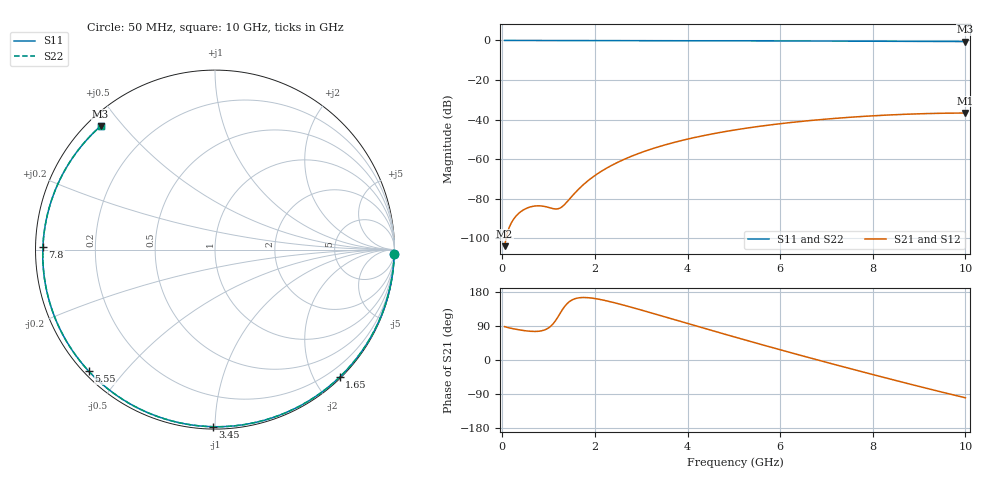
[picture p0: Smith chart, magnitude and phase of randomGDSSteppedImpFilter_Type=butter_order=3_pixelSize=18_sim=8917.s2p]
! freq	dB(S11)	phase(S11)	dB(S12)	phase(S12)
!  dB(S21)	phase(S21)	dB(S22)	phase(S22)
!S-par simulation data
#  GHz  S  DB  R 50
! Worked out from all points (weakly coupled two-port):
!   200 points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, 50 MHz to 10 GHz, reference 50 ohm
!   highest |S21| = -36.68 dB at 10 GHz (marker M1); lowest = -104.0 dB at 50 MHz (marker M2)
!   lowest |S11| = -0.6 dB at 10 GHz (marker M3), VSWR 31.15, Z = 1.91 + j21.8 ohm
!   |S11| at or under -10 dB: nowhere
!   |S22| runs from -0.6 to 0.0 dB; largest |S21 - S12| = 0
!   S11 on the Smith chart (normalised r, x): 50 MHz: 2, -84; 1.65 GHz: 0.02, -2.37; 3.45 GHz: 0.01, -0.99; 5.55 GHz: 0.01, -0.40; 7.8 GHz: 0.02, +0.01; 10 GHz: 0.04, +0.44
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0.05  -0.01 -1.4  -103.98 88.0  -103.98 88.0  -0.01 -1.4
0.4  -0.02 -11.3  -86.52 78.9  -86.52 78.9  -0.02 -11.3
0.7  -0.03 -19.7  -83.70 75.3  -83.70 75.3  -0.03 -19.7
1.05  -0.04 -29.4  -84.73 89.5  -84.73 89.5  -0.04 -29.4
1.45  -0.05 -40.3  -80.21 154.1  -80.21 154.1  -0.05 -40.3
1.65  -0.06 -45.7  -75.11 164.0  -75.11 164.0  -0.06 -45.7
1.75  -0.06 -48.3  -72.90 164.9  -72.90 164.9  -0.06 -48.3
2.05  -0.07 -56.2  -67.47 161.2  -67.47 161.2  -0.07 -56.2
2.45  -0.08 -66.4  -62.09 150.2  -62.09 150.2  -0.08 -66.4
2.9  -0.10 -77.5  -57.51 135.3  -57.51 135.3  -0.10 -77.5
3.4  -0.11 -89.4  -53.57 117.8  -53.57 117.8  -0.11 -89.5
3.45  -0.11 -90.6  -53.22 116.0  -53.22 116.0  -0.11 -90.6
4.2  -0.14 -107.6  -48.82 89.4  -48.82 89.4  -0.14 -107.6
5.05  -0.18 -125.8  -45.13 59.5  -45.13 59.5  -0.18 -125.8
5.55  -0.21 -136.1  -43.41 42.3  -43.41 42.3  -0.21 -136.1
6.15  -0.24 -148.2  -41.68 22.0  -41.68 22.0  -0.24 -148.3
6.7  -0.28 -159.2  -40.37 3.7  -40.37 3.7  -0.28 -159.2
7.25  -0.32 -170.1  -39.27 -14.3  -39.27 -14.3  -0.32 -170.1
7.8  -0.36 179.0  -38.38 -32.0  -38.38 -32.0  -0.36 179.0
8.35  -0.41 167.9  -37.67 -49.5  -37.67 -49.5  -0.41 167.9
9.15  -0.48 151.3  -36.97 -74.3  -36.97 -74.3  -0.48 151.3
10  -0.56 132.8  -36.68 -99.7  -36.68 -99.7  -0.56 132.8
